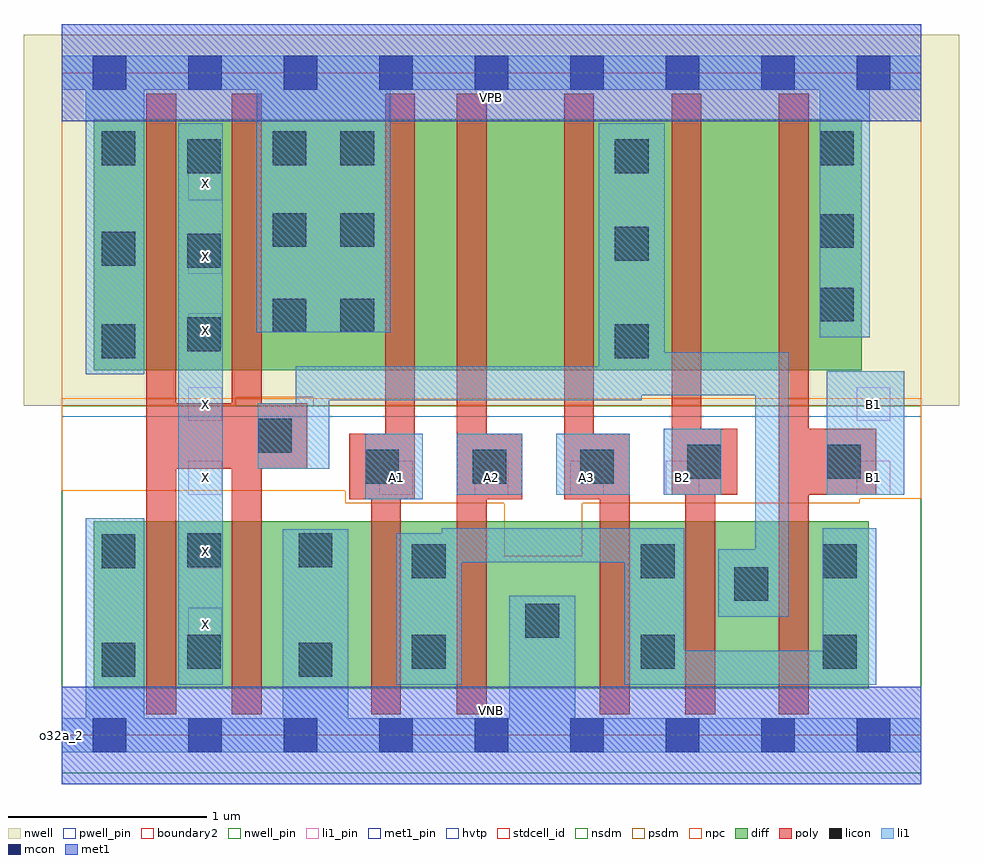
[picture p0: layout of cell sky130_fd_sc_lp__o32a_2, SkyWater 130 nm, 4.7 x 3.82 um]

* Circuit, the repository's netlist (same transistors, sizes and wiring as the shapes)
* Copyright 2020 The SkyWater PDK Authors
*
* Licensed under the Apache License, Version 2.0 (the "License");
* you may not use this file except in compliance with the License.
* You may obtain a copy of the License at
*
*     https://www.apache.org/licenses/LICENSE-2.0
*
* Unless required by applicable law or agreed to in writing, software
* distributed under the License is distributed on an "AS IS" BASIS,
* WITHOUT WARRANTIES OR CONDITIONS OF ANY KIND, either express or implied.
* See the License for the specific language governing permissions and
* limitations under the License.
*
* SPDX-License-Identifier: Apache-2.0

.SUBCKT sky130_fd_sc_lp__o32a_2 A1 A2 A3 B1 B2 VGND VNB VPB VPWR X
*.PININFO A1:I A2:I A3:I B1:I B2:I VGND:I VNB:I VPB:I VPWR:I X:O
MMPA0 VPWR A1 sndA1 VPB sky130_fd_pr__pfet_01v8_hvt m=1 w=1.26U l=0.15U mult=1
+ sa=0.265 sb=0.265 sd=0.28 area=0.063 perim=1.14
MMPA1 sndA1 A2 sndA2 VPB sky130_fd_pr__pfet_01v8_hvt m=1 w=1.26U l=0.15U mult=1
+ sa=0.265 sb=0.265 sd=0.28 area=0.063 perim=1.14
MMPA2 sndA2 A3 y VPB sky130_fd_pr__pfet_01v8_hvt m=1 w=1.26U l=0.15U mult=1 sa=0.265
+ sb=0.265 sd=0.28 area=0.063 perim=1.14
MMPB0 VPWR B1 sndB1 VPB sky130_fd_pr__pfet_01v8_hvt m=1 w=1.26U l=0.15U mult=1
+ sa=0.265 sb=0.265 sd=0.28 area=0.063 perim=1.14
MMPB1 sndB1 B2 y VPB sky130_fd_pr__pfet_01v8_hvt m=1 w=1.26U l=0.15U mult=1 sa=0.265
+ sb=0.265 sd=0.28 area=0.063 perim=1.14
MMIPX X y VPWR VPB sky130_fd_pr__pfet_01v8_hvt m=2 w=1.26U l=0.15U mult=1 sa=0.265
+ sb=0.265 sd=0.28 area=0.063 perim=1.14
MMNA0 pndA A1 VGND VNB sky130_fd_pr__nfet_01v8 m=1 w=0.84U l=0.15U mult=1 sa=0.265
+ sb=0.265 sd=0.28 area=0.063 perim=1.14
MMNA1 pndA A2 VGND VNB sky130_fd_pr__nfet_01v8 m=1 w=0.84U l=0.15U mult=1 sa=0.265
+ sb=0.265 sd=0.28 area=0.063 perim=1.14
MMNA2 pndA A3 VGND VNB sky130_fd_pr__nfet_01v8 m=1 w=0.84U l=0.15U mult=1 sa=0.265
+ sb=0.265 sd=0.28 area=0.063 perim=1.14
MMNB0 y B1 pndA VNB sky130_fd_pr__nfet_01v8 m=1 w=0.84U l=0.15U mult=1 sa=0.265
+ sb=0.265 sd=0.28 area=0.063 perim=1.14
MMNB1 y B2 pndA VNB sky130_fd_pr__nfet_01v8 m=1 w=0.84U l=0.15U mult=1 sa=0.265
+ sb=0.265 sd=0.28 area=0.063 perim=1.14
MMINX X y VGND VNB sky130_fd_pr__nfet_01v8 m=2 w=0.84U l=0.15U mult=1 sa=0.265
+ sb=0.265 sd=0.28 area=0.063 perim=1.14
.ENDS sky130_fd_sc_lp__o32a_2

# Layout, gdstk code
import gdstk
lib = gdstk.Library(unit=1e-6, precision=1e-09)
def R(c, l, rs):  # rectangles x0, y0, x1, y1
    for r in rs: c.add(gdstk.rectangle(r[:2], r[2:], *l))
def A(c, l, x, y, w, h, nx, ny, dx, dy):  # array of equal rectangles
    R(c, l, [(x+i*dx, y+j*dy, x+i*dx+w, y+j*dy+h) for i in range(nx) for j in range(ny)])
def P(c, l, *ps):  # polygons
    for p in ps: c.add(gdstk.Polygon(p, *l))
nwell_pin = (64, 16)
nwell = (64, 20)
diff = (65, 20)
poly = (66, 20)
licon = (66, 44)
li1_pin = (67, 16)
li1 = (67, 20)
mcon = (67, 44)
met1_pin = (68, 16)
met1 = (68, 20)
hvtp = (78, 44)
stdcell_id = (81, 4)
nsdm = (93, 44)
psdm = (94, 20)
npc = (95, 20)
pwell_pin = (122, 16)
boundary2 = (236, 0)

sky130_fd_sc_lp__o32a_2 = lib.new_cell('sky130_fd_sc_lp__o32a_2')
R(sky130_fd_sc_lp__o32a_2, nwell_pin, [(0,3.085,4.32,3.33)])
R(sky130_fd_sc_lp__o32a_2, nwell, [(-0.19,1.655,4.51,3.52)])
R(sky130_fd_sc_lp__o32a_2, diff, [(0.16,0.235,4.055,1.075), (0.16,1.835,4.02,3.095)])
P(sky130_fd_sc_lp__o32a_2, poly, [(1.235,1.67),(1.005,1.67),(1.005,3.225),(0.855,3.225),(0.855,1.67),(0.575,1.67),(0.575,3.225),(0.425,3.225),(0.425,0.105),(0.575,0.105),(0.575,1.34),(0.855,1.34),(0.855,0.105),(1.005,0.105),(1.005,1.34),(1.235,1.34)],
  [(1.775,3.225),(1.625,3.225),(1.625,1.515),(1.445,1.515),(1.445,1.185),(1.555,1.185),(1.555,0.105),(1.705,0.105),(1.705,1.185),(1.775,1.185)],
  [(2.315,1.515),(2.135,1.515),(2.135,3.225),(1.985,3.225),(1.985,0.105),(2.135,0.105),(2.135,1.185),(2.315,1.185)],
  [(2.855,1.515),(2.675,1.515),(2.675,3.225),(2.525,3.225),(2.525,1.185),(2.705,1.185),(2.705,0.105),(2.855,0.105)],
  [(3.395,1.54),(3.215,1.54),(3.215,3.225),(3.065,3.225),(3.065,1.21),(3.135,1.21),(3.135,0.105),(3.285,0.105),(3.285,1.21),(3.395,1.21)],
  [(4.095,1.54),(3.755,1.54),(3.755,3.225),(3.605,3.225),(3.605,0.105),(3.755,0.105),(3.755,1.21),(4.095,1.21)])
A(sky130_fd_sc_lp__o32a_2, licon, 1.525, 1.265, 0.17, 0.17, 3, 1, 0.54, 0)
R(sky130_fd_sc_lp__o32a_2, licon, [(0.2,0.295,0.37,0.465), (1.19,0.295,1.36,0.465), (0.63,0.335,0.8,0.505), (1.76,0.335,1.93,0.505), (2.91,0.335,3.08,0.505), (3.825,0.335,3.995,0.505), (2.33,0.49,2.5,0.66), (3.38,0.675,3.55,0.845), (1.76,0.79,1.93,0.96), (2.91,0.79,3.08,0.96), (3.825,0.79,3.995,0.96), (0.2,0.84,0.37,1.01), (0.63,0.845,0.8,1.015), (1.19,0.845,1.36,1.015), (3.145,1.29,3.315,1.46), (3.845,1.29,4.015,1.46), (0.985,1.42,1.155,1.59), (0.2,1.895,0.37,2.065), (2.78,1.895,2.95,2.065), (0.63,1.93,0.8,2.1), (1.06,2.025,1.23,2.195), (1.4,2.025,1.57,2.195), (3.81,2.08,3.98,2.25), (0.63,2.35,0.8,2.52), (0.2,2.36,0.37,2.53), (2.78,2.385,2.95,2.555), (3.81,2.45,3.98,2.62), (1.06,2.455,1.23,2.625), (1.4,2.455,1.57,2.625), (0.63,2.825,0.8,2.995), (2.78,2.825,2.95,2.995), (0.2,2.865,0.37,3.035), (1.06,2.865,1.23,3.035), (1.4,2.865,1.57,3.035), (3.81,2.865,3.98,3.035)])
A(sky130_fd_sc_lp__o32a_2, li1_pin, 0.635, 0.47, 0.17, 0.17, 1, 7, 0, 0.37)
A(sky130_fd_sc_lp__o32a_2, li1_pin, 1.595, 1.21, 0.17, 0.17, 4, 1, 0.48, 0)
R(sky130_fd_sc_lp__o32a_2, li1_pin, [(3.995,1.21,4.165,1.38), (3.995,1.58,4.165,1.75)])
R(sky130_fd_sc_lp__o32a_2, li1, [(0.585,0.255,0.81,3.075), (1.525,1.185,1.815,1.515), (1.985,1.21,2.315,1.515), (2.485,1.21,2.855,1.515), (3.025,1.21,3.315,1.54), (3.845,1.21,4.235,1.83)])
P(sky130_fd_sc_lp__o32a_2, li1, [(3.81,2),(3.81,3.245),(1.65,3.245),(1.65,2.025),(0.98,2.025),(0.98,3.245),(0.415,3.245),(0.415,1.815),(0.12,1.815),(0.12,3.245),(0,3.245),(0,3.415),(4.32,3.415),(4.32,3.245),(4.06,3.245),(4.06,2)],
  [(2.25,0.085),(2.25,0.7),(2.58,0.7),(2.58,0.085),(4.32,0.085),(4.32,-0.085),(0,-0.085),(0,0.085),(0.12,0.085),(0.12,1.09),(0.415,1.09),(0.415,0.085),(1.11,0.085),(1.11,1.035),(1.44,1.035),(1.44,0.085)],
  [(3.655,1.925),(3.03,1.925),(3.03,3.075),(2.7,3.075),(2.7,1.855),(1.175,1.855),(1.175,1.67),(0.985,1.67),(0.985,1.34),(1.345,1.34),(1.345,1.685),(2.915,1.685),(2.915,1.71),(3.485,1.71),(3.485,0.935),(3.3,0.935),(3.3,0.595),(3.655,0.595)],
  [(4.095,1.04),(3.825,1.04),(3.825,0.425),(3.13,0.425),(3.13,1.04),(1.91,1.04),(1.91,1.015),(1.68,1.015),(1.68,0.255),(2.01,0.255),(2.01,0.87),(2.83,0.87),(2.83,0.255),(4.095,0.255)])
A(sky130_fd_sc_lp__o32a_2, mcon, 0.155, -0.085, 0.17, 0.17, 9, 2, 0.48, 3.33)
R(sky130_fd_sc_lp__o32a_2, met1_pin, [(0,0,4.32,0.245), (0,3.085,4.32,3.33)])
R(sky130_fd_sc_lp__o32a_2, met1, [(0,-0.245,4.32,0.245), (0,3.085,4.32,3.575)])
R(sky130_fd_sc_lp__o32a_2, hvtp, [(0,1.6,4.32,3.33)])
R(sky130_fd_sc_lp__o32a_2, stdcell_id, [(0,0,4.32,3.33)])
R(sky130_fd_sc_lp__o32a_2, nsdm, [(0,-0.19,4.32,1.655)])
P(sky130_fd_sc_lp__o32a_2, psdm, [(4.32,3.52),(0,3.52),(0,1.655),(0.875,1.655),(0.875,1.7),(1.265,1.7),(1.265,1.655),(4.32,1.655)])
P(sky130_fd_sc_lp__o32a_2, npc, [(4.32,1.695),(0,1.695),(0,1.23),(1.425,1.23),(1.425,1.165),(2.225,1.165),(2.225,0.9),(2.615,0.9),(2.615,1.165),(4.01,1.165),(4.01,1.19),(4.32,1.19)])
R(sky130_fd_sc_lp__o32a_2, pwell_pin, [(0,0,4.32,0.245)])
R(sky130_fd_sc_lp__o32a_2, boundary2, [(0,0,4.32,3.33)])
sky130_fd_sc_lp__o32a_2.add(gdstk.Label('VNB', (2.16,0.123), layer=64, texttype=59))
sky130_fd_sc_lp__o32a_2.add(gdstk.Label('VPB', (2.16,3.208), layer=64, texttype=5))
sky130_fd_sc_lp__o32a_2.add(gdstk.Label('o32a_2', (0,0), layer=83, texttype=44))
sky130_fd_sc_lp__o32a_2.add(gdstk.Label('VPWR', (2.16,3.208), layer=68, texttype=5))
sky130_fd_sc_lp__o32a_2.add(gdstk.Label('VGND', (2.16,0.123), layer=68, texttype=5))
sky130_fd_sc_lp__o32a_2.add(gdstk.Label('X', (0.72,0.555), layer=67, texttype=5))
sky130_fd_sc_lp__o32a_2.add(gdstk.Label('X', (0.72,0.925), layer=67, texttype=5))
sky130_fd_sc_lp__o32a_2.add(gdstk.Label('X', (0.72,1.295), layer=67, texttype=5))
sky130_fd_sc_lp__o32a_2.add(gdstk.Label('X', (0.72,1.665), layer=67, texttype=5))
sky130_fd_sc_lp__o32a_2.add(gdstk.Label('X', (0.72,2.035), layer=67, texttype=5))
sky130_fd_sc_lp__o32a_2.add(gdstk.Label('X', (0.72,2.405), layer=67, texttype=5))
sky130_fd_sc_lp__o32a_2.add(gdstk.Label('X', (0.72,2.775), layer=67, texttype=5))
sky130_fd_sc_lp__o32a_2.add(gdstk.Label('A1', (1.68,1.295), layer=67, texttype=5))
sky130_fd_sc_lp__o32a_2.add(gdstk.Label('A2', (2.16,1.295), layer=67, texttype=5))
sky130_fd_sc_lp__o32a_2.add(gdstk.Label('A3', (2.64,1.295), layer=67, texttype=5))
sky130_fd_sc_lp__o32a_2.add(gdstk.Label('B1', (4.08,1.295), layer=67, texttype=5))
sky130_fd_sc_lp__o32a_2.add(gdstk.Label('B1', (4.08,1.665), layer=67, texttype=5))
sky130_fd_sc_lp__o32a_2.add(gdstk.Label('B2', (3.12,1.295), layer=67, texttype=5))

lib.write_gds('sky130_fd_sc_lp__o32a_2.gds')
